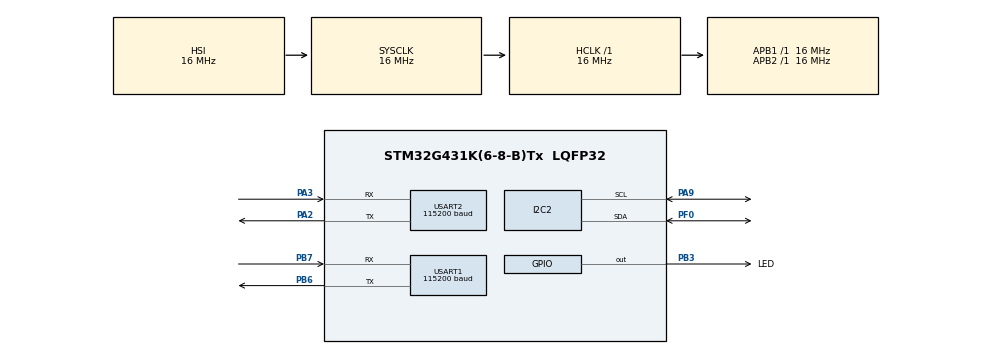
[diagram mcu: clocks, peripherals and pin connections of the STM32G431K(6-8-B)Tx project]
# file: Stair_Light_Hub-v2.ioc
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Dma.Request0=USART1_TX
Dma.Request1=USART2_TX
Dma.USART1_TX.0.Direction=DMA_MEMORY_TO_PERIPH
Dma.USART1_TX.0.EventEnable=DISABLE
Dma.USART1_TX.0.Instance=DMA1_Channel1
Dma.USART1_TX.0.MemDataAlignment=DMA_MDATAALIGN_BYTE
Dma.USART1_TX.0.MemInc=DMA_MINC_ENABLE
Dma.USART1_TX.0.Mode=DMA_NORMAL
Dma.USART1_TX.0.PeriphDataAlignment=DMA_PDATAALIGN_BYTE
Dma.USART1_TX.0.PeriphInc=DMA_PINC_DISABLE
Dma.USART1_TX.0.Polarity=HAL_DMAMUX_REQ_GEN_RISING
Dma.USART1_TX.0.Priority=DMA_PRIORITY_LOW
Dma.USART1_TX.0.RequestNumber=1
Dma.USART1_TX.0.SignalID=NONE
Dma.USART1_TX.0.SyncEnable=DISABLE
Dma.USART1_TX.0.SyncPolarity=HAL_DMAMUX_SYNC_NO_EVENT
Dma.USART1_TX.0.SyncRequestNumber=1
Dma.USART1_TX.0.SyncSignalID=NONE
Dma.USART2_TX.1.Direction=DMA_MEMORY_TO_PERIPH
Dma.USART2_TX.1.EventEnable=DISABLE
Dma.USART2_TX.1.Instance=DMA1_Channel2
Dma.USART2_TX.1.MemDataAlignment=DMA_MDATAALIGN_BYTE
Dma.USART2_TX.1.MemInc=DMA_MINC_ENABLE
Dma.USART2_TX.1.Mode=DMA_NORMAL
Dma.USART2_TX.1.PeriphDataAlignment=DMA_PDATAALIGN_BYTE
Dma.USART2_TX.1.PeriphInc=DMA_PINC_DISABLE
Dma.USART2_TX.1.Polarity=HAL_DMAMUX_REQ_GEN_RISING
Dma.USART2_TX.1.Priority=DMA_PRIORITY_LOW
Dma.USART2_TX.1.RequestNumber=1
Dma.USART2_TX.1.SignalID=NONE
Dma.USART2_TX.1.SyncEnable=DISABLE
Dma.USART2_TX.1.SyncPolarity=HAL_DMAMUX_SYNC_NO_EVENT
Dma.USART2_TX.1.SyncRequestNumber=1
Dma.USART2_TX.1.SyncSignalID=NONE
Mcu.Family=STM32G4
Mcu.Name=STM32G431K(6-8-B)Tx
Mcu.Package=LQFP32
NVIC.DMA1_Channel1_IRQn=true\:0\:0\:false\:false\:true\:false\:true\:true
NVIC.DMA1_Channel2_IRQn=true\:0\:0\:false\:false\:true\:false\:true\:true
NVIC.I2C2_EV_IRQn=true\:0\:0\:false\:false\:true\:true\:true\:true
NVIC.PriorityGroup=NVIC_PRIORITYGROUP_4
NVIC.USART1_IRQn=true\:0\:0\:false\:false\:true\:true\:true\:true
NVIC.USART2_IRQn=true\:0\:0\:false\:false\:true\:true\:true\:true
PA2.Mode=Asynchronous
PA2.Signal=USART2_TX
PA3.Mode=Asynchronous
PA3.Signal=USART2_RX
PA9.GPIO_Pu=GPIO_PULLUP
PA9.Mode=I2C
PA9.Signal=I2C2_SCL
PB3.GPIO_Label=LED
PB3.Signal=GPIO_Output
PB6.Mode=Asynchronous
PB6.Signal=USART1_TX
PB7.Mode=Asynchronous
PB7.Signal=USART1_RX
PF0-OSC_IN.GPIO_Pu=GPIO_PULLUP
PF0-OSC_IN.Mode=I2C
PF0-OSC_IN.Signal=I2C2_SDA
ProjectManager.HeapSize=0x200
ProjectManager.StackSize=0x400
ProjectManager.TargetToolchain=STM32CubeIDE
RCC.AHBFreq_Value=16000000
RCC.APB1Freq_Value=16000000
RCC.APB1TimFreq_Value=16000000
RCC.APB2Freq_Value=16000000
RCC.APB2TimFreq_Value=16000000
RCC.CortexFreq_Value=16000000
RCC.EXTERNAL_CLOCK_VALUE=12288000
RCC.HCLKFreq_Value=16000000
RCC.HSE_VALUE=8000000
RCC.HSI48_VALUE=48000000
RCC.HSI_VALUE=16000000
RCC.LSE_VALUE=32768
RCC.PLLQ=RCC_PLLQ_DIV4
RCC.SYSCLKFreq_VALUE=16000000
RCC.USBFreq_Value=32000000
RCC.VCOOutputFreq_Value=128000000
USART1.BaudRate=115200
USART1.VirtualMode-Asynchronous=VM_ASYNC
USART2.BaudRate=115200
USART2.VirtualMode-Asynchronous=VM_ASYNC
VP_RNG_VS_RNG.Mode=RNG_Activate
VP_SYS_VS_DBSignals.Mode=DisableDeadBatterySignals
board=custom

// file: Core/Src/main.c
/* USER CODE BEGIN Header */
/**
  ******************************************************************************
  * @file           : main.c
  * @brief          : Main program body
  ******************************************************************************
  * @attention
  *
  * <h2><center>&copy; Copyright (c) 2021 STMicroelectronics.
  * All rights reserved.</center></h2>
  *
  * This software component is licensed by ST under BSD 3-Clause license,
  * the "License"; You may not use this file except in compliance with the
  * License. You may obtain a copy of the License at:
  *                        opensource.org/licenses/BSD-3-Clause
  *
  ******************************************************************************
  */
/* USER CODE END Header */
#include "main.h"

/* USER CODE BEGIN Includes */
#include "communication.h"
#include "i2c.h"
#include "animations.h"
/* USER CODE END Includes */

 I2C_HandleTypeDef hi2c2;

RNG_HandleTypeDef hrng;

UART_HandleTypeDef huart1;
UART_HandleTypeDef huart2;
DMA_HandleTypeDef hdma_usart1_tx;
DMA_HandleTypeDef hdma_usart2_tx;

void SystemClock_Config(void);
static void MX_GPIO_Init(void);
static void MX_DMA_Init(void);
static void MX_USART1_UART_Init(void);
static void MX_USART2_UART_Init(void);
static void MX_I2C2_Init(void);
static void MX_RNG_Init(void);

int main(void)
{

  /* MCU Configuration--------------------------------------------------------*/

  /* Reset of all peripherals, Initializes the Flash interface and the Systick. */
  HAL_Init();

  /* Configure the system clock */
  SystemClock_Config();

  /* Initialize all configured peripherals */
  MX_GPIO_Init();
  MX_DMA_Init();
  MX_USART1_UART_Init();
  MX_USART2_UART_Init();
  MX_I2C2_Init();
  MX_RNG_Init();
  /* USER CODE BEGIN 2 */
  // Counts cycles since last recalibration
  int calibrateCount = 0;
  //receiveI2C();
  // Only update animations once every 5 sensor polls
  // Calibrate sensors on startup
  recalibrate();
  /* USER CODE END 2 */

  /* Infinite loop */
  /* USER CODE BEGIN WHILE */
  while (1)
  {
	  if (I2CUpdateReady()) {
		  processI2C();
		  updateLEDs();
		  updateLEDs();
		  receiveI2C();
	  }
	  if (!I2CActive()) {
		  pollSensors();
		  // If sensors sense something, do not update LEDs
		  if (!objectSensed()) {
            // TODO: clean up all the code
		    updateAnimation();
		    sendAnimationIdx(getAnimationNum(), getAnimationIdx());
		  }
		  // Recalibrate every 1000 cycles
		  calibrateCount++;
		  if (calibrateCount > 1000) {
			  recalibrate();
			  calibrateCount = 0;
		  }
	  }
	  // Alert peripherals that this round of updates is complete
	  //sendCommand(getTopUART(), UPDATE_COMPLETE);
	  //sendCommand(getBotUART(), UPDATE_COMPLETE);
	  HAL_Delay(15);
    /* USER CODE END WHILE */

  }
}

void SystemClock_Config(void)
{
  RCC_OscInitTypeDef RCC_OscInitStruct = {0};
  RCC_ClkInitTypeDef RCC_ClkInitStruct = {0};

  /** Configure the main internal regulator output voltage
  */
  HAL_PWREx_ControlVoltageScaling(PWR_REGULATOR_VOLTAGE_SCALE1);

  /** Initializes the RCC Oscillators according to the specified parameters
  * in the RCC_OscInitTypeDef structure.
  */
  RCC_OscInitStruct.OscillatorType = RCC_OSCILLATORTYPE_HSI;
  RCC_OscInitStruct.HSIState = RCC_HSI_ON;
  RCC_OscInitStruct.HSICalibrationValue = RCC_HSICALIBRATION_DEFAULT;
  RCC_OscInitStruct.PLL.PLLState = RCC_PLL_ON;
  RCC_OscInitStruct.PLL.PLLSource = RCC_PLLSOURCE_HSI;
  RCC_OscInitStruct.PLL.PLLM = RCC_PLLM_DIV1;
  RCC_OscInitStruct.PLL.PLLN = 8;
  RCC_OscInitStruct.PLL.PLLP = RCC_PLLP_DIV2;
  RCC_OscInitStruct.PLL.PLLQ = RCC_PLLQ_DIV4;
  RCC_OscInitStruct.PLL.PLLR = RCC_PLLR_DIV2;
  if (HAL_RCC_OscConfig(&RCC_OscInitStruct) != HAL_OK)
  {
    Error_Handler();
  }

  /** Initializes the CPU, AHB and APB buses clocks
  */
  RCC_ClkInitStruct.ClockType = RCC_CLOCKTYPE_HCLK|RCC_CLOCKTYPE_SYSCLK
                              |RCC_CLOCKTYPE_PCLK1|RCC_CLOCKTYPE_PCLK2;
  RCC_ClkInitStruct.SYSCLKSource = RCC_SYSCLKSOURCE_HSI;
  RCC_ClkInitStruct.AHBCLKDivider = RCC_SYSCLK_DIV1;
  RCC_ClkInitStruct.APB1CLKDivider = RCC_HCLK_DIV1;
  RCC_ClkInitStruct.APB2CLKDivider = RCC_HCLK_DIV1;

  if (HAL_RCC_ClockConfig(&RCC_ClkInitStruct, FLASH_LATENCY_0) != HAL_OK)
  {
    Error_Handler();
  }
}

static void MX_I2C2_Init(void)
{

  hi2c2.Instance = I2C2;
  hi2c2.Init.Timing = 0x00303D5B;
  hi2c2.Init.OwnAddress1 = 0;
  hi2c2.Init.AddressingMode = I2C_ADDRESSINGMODE_7BIT;
  hi2c2.Init.DualAddressMode = I2C_DUALADDRESS_DISABLE;
  hi2c2.Init.OwnAddress2 = 0;
  hi2c2.Init.OwnAddress2Masks = I2C_OA2_NOMASK;
  hi2c2.Init.GeneralCallMode = I2C_GENERALCALL_DISABLE;
  hi2c2.Init.NoStretchMode = I2C_NOSTRETCH_DISABLE;
  if (HAL_I2C_Init(&hi2c2) != HAL_OK)
  {
    Error_Handler();
  }

  /** Configure Analogue filter
  */
  if (HAL_I2CEx_ConfigAnalogFilter(&hi2c2, I2C_ANALOGFILTER_ENABLE) != HAL_OK)
  {
    Error_Handler();
  }

  /** Configure Digital filter
  */
  if (HAL_I2CEx_ConfigDigitalFilter(&hi2c2, 0) != HAL_OK)
  {
    Error_Handler();
  }

}

static void MX_RNG_Init(void)
{

  hrng.Instance = RNG;
  hrng.Init.ClockErrorDetection = RNG_CED_ENABLE;
  if (HAL_RNG_Init(&hrng) != HAL_OK)
  {
    Error_Handler();
  }

}

static void MX_USART1_UART_Init(void)
{

  huart1.Instance = USART1;
  huart1.Init.BaudRate = 115200;
  huart1.Init.WordLength = UART_WORDLENGTH_8B;
  huart1.Init.StopBits = UART_STOPBITS_1;
  huart1.Init.Parity = UART_PARITY_NONE;
  huart1.Init.Mode = UART_MODE_TX_RX;
  huart1.Init.HwFlowCtl = UART_HWCONTROL_NONE;
  huart1.Init.OverSampling = UART_OVERSAMPLING_16;
  huart1.Init.OneBitSampling = UART_ONE_BIT_SAMPLE_DISABLE;
  huart1.Init.ClockPrescaler = UART_PRESCALER_DIV1;
  huart1.AdvancedInit.AdvFeatureInit = UART_ADVFEATURE_NO_INIT;
  if (HAL_UART_Init(&huart1) != HAL_OK)
  {
    Error_Handler();
  }
  if (HAL_UARTEx_SetTxFifoThreshold(&huart1, UART_TXFIFO_THRESHOLD_1_8) != HAL_OK)
  {
    Error_Handler();
  }
  if (HAL_UARTEx_SetRxFifoThreshold(&huart1, UART_RXFIFO_THRESHOLD_1_8) != HAL_OK)
  {
    Error_Handler();
  }
  if (HAL_UARTEx_DisableFifoMode(&huart1) != HAL_OK)
  {
    Error_Handler();
  }

}

static void MX_USART2_UART_Init(void)
{

  huart2.Instance = USART2;
  huart2.Init.BaudRate = 115200;
  huart2.Init.WordLength = UART_WORDLENGTH_8B;
  huart2.Init.StopBits = UART_STOPBITS_1;
  huart2.Init.Parity = UART_PARITY_NONE;
  huart2.Init.Mode = UART_MODE_TX_RX;
  huart2.Init.HwFlowCtl = UART_HWCONTROL_NONE;
  huart2.Init.OverSampling = UART_OVERSAMPLING_16;
  huart2.Init.OneBitSampling = UART_ONE_BIT_SAMPLE_DISABLE;
  huart2.Init.ClockPrescaler = UART_PRESCALER_DIV1;
  huart2.AdvancedInit.AdvFeatureInit = UART_ADVFEATURE_NO_INIT;
  if (HAL_UART_Init(&huart2) != HAL_OK)
  {
    Error_Handler();
  }
  if (HAL_UARTEx_SetTxFifoThreshold(&huart2, UART_TXFIFO_THRESHOLD_1_8) != HAL_OK)
  {
    Error_Handler();
  }
  if (HAL_UARTEx_SetRxFifoThreshold(&huart2, UART_RXFIFO_THRESHOLD_1_8) != HAL_OK)
  {
    Error_Handler();
  }
  if (HAL_UARTEx_DisableFifoMode(&huart2) != HAL_OK)
  {
    Error_Handler();
  }

}

static void MX_DMA_Init(void)
{

  /* DMA controller clock enable */
  __HAL_RCC_DMAMUX1_CLK_ENABLE();
  __HAL_RCC_DMA1_CLK_ENABLE();

  /* DMA interrupt init */
  /* DMA1_Channel1_IRQn interrupt configuration */
  HAL_NVIC_SetPriority(DMA1_Channel1_IRQn, 0, 0);
  HAL_NVIC_EnableIRQ(DMA1_Channel1_IRQn);
  /* DMA1_Channel2_IRQn interrupt configuration */
  HAL_NVIC_SetPriority(DMA1_Channel2_IRQn, 0, 0);
  HAL_NVIC_EnableIRQ(DMA1_Channel2_IRQn);

}

static void MX_GPIO_Init(void)
{
  GPIO_InitTypeDef GPIO_InitStruct = {0};

  /* GPIO Ports Clock Enable */
  __HAL_RCC_GPIOF_CLK_ENABLE();
  __HAL_RCC_GPIOA_CLK_ENABLE();
  __HAL_RCC_GPIOB_CLK_ENABLE();

  /*Configure GPIO pin Output Level */
  HAL_GPIO_WritePin(LED_GPIO_Port, LED_Pin, GPIO_PIN_RESET);

  /*Configure GPIO pin : LED_Pin */
  GPIO_InitStruct.Pin = LED_Pin;
  GPIO_InitStruct.Mode = GPIO_MODE_OUTPUT_PP;
  GPIO_InitStruct.Pull = GPIO_NOPULL;
  GPIO_InitStruct.Speed = GPIO_SPEED_FREQ_LOW;
  HAL_GPIO_Init(LED_GPIO_Port, &GPIO_InitStruct);

}

/* USER CODE BEGIN 4 */
UART_HandleTypeDef* getTopUART() {
	return &huart1;
}
UART_HandleTypeDef* getBotUART() {
	return &huart2;
}
I2C_HandleTypeDef* getI2C() {
	return &hi2c2;
}
RNG_HandleTypeDef* getRNG() {
	return &hrng;
}
// Set the connection of the UARt mux
// Connected to sensor boards when sel is low
// Connected to other boards when sel is high
/* USER CODE END 4 */

void Error_Handler(void)
{
  __disable_irq();
  while (1)
  {
  }
}
